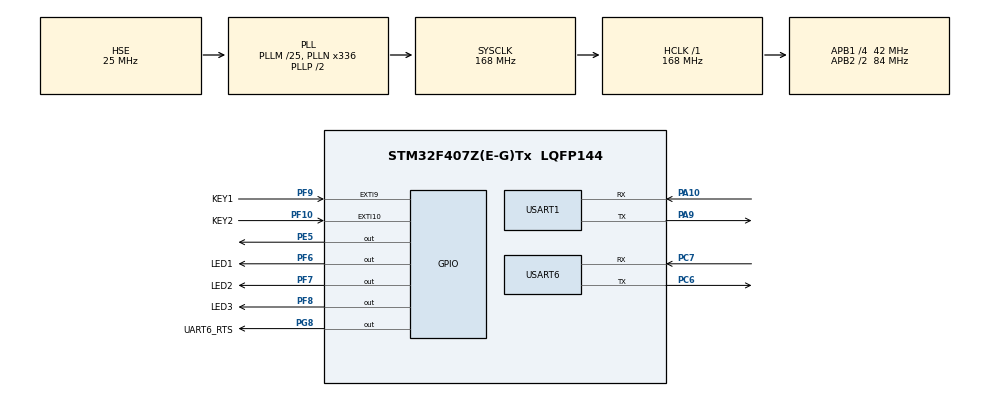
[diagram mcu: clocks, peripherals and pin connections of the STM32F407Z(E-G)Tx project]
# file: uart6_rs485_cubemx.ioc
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Mcu.Family=STM32F4
Mcu.Name=STM32F407Z(E-G)Tx
Mcu.Package=LQFP144
NVIC.EXTI15_10_IRQn=true\:0\:0\:false\:false\:true\:true\:true\:true
NVIC.EXTI9_5_IRQn=true\:0\:0\:false\:false\:true\:true\:true\:true
NVIC.PriorityGroup=NVIC_PRIORITYGROUP_4
NVIC.USART6_IRQn=true\:0\:0\:false\:false\:true\:true\:true\:true
PA10.Mode=Asynchronous
PA10.Signal=USART1_RX
PA9.Mode=Asynchronous
PA9.Signal=USART1_TX
PC6.Mode=Asynchronous
PC6.Signal=USART6_TX
PC7.Mode=Asynchronous
PC7.Signal=USART6_RX
PE5.Signal=GPIO_Output
PF10.GPIO_Label=KEY2
PF10.GPIO_ModeDefaultEXTI=GPIO_MODE_IT_FALLING
PF10.GPIO_PuPd=GPIO_PULLUP
PF10.Signal=GPXTI10
PF6.GPIO_Label=LED1
PF6.Signal=GPIO_Output
PF7.GPIO_Label=LED2
PF7.Signal=GPIO_Output
PF8.GPIO_Label=LED3
PF8.Signal=GPIO_Output
PF9.GPIO_Label=KEY1
PF9.GPIO_ModeDefaultEXTI=GPIO_MODE_IT_FALLING
PF9.GPIO_PuPd=GPIO_PULLUP
PF9.Signal=GPXTI9
PG8.GPIO_Label=UART6_RTS
PG8.Signal=GPIO_Output
PH0-OSC_IN.Mode=HSE-External-Oscillator
PH0-OSC_IN.Signal=RCC_OSC_IN
PH1-OSC_OUT.Mode=HSE-External-Oscillator
PH1-OSC_OUT.Signal=RCC_OSC_OUT
ProjectManager.HeapSize=0x200
ProjectManager.StackSize=0x400
ProjectManager.TargetToolchain=STM32CubeIDE
RCC.48MHZClocksFreq_Value=84000000
RCC.AHBFreq_Value=168000000
RCC.APB1CLKDivider=RCC_HCLK_DIV4
RCC.APB1Freq_Value=42000000
RCC.APB1TimFreq_Value=84000000
RCC.APB2CLKDivider=RCC_HCLK_DIV2
RCC.APB2Freq_Value=84000000
RCC.APB2TimFreq_Value=168000000
RCC.CortexFreq_Value=168000000
RCC.HCLKFreq_Value=168000000
RCC.HSE_VALUE=25000000
RCC.HSI_VALUE=16000000
RCC.LSE_VALUE=32768
RCC.PLLM=25
RCC.PLLN=336
RCC.PLLSourceVirtual=RCC_PLLSOURCE_HSE
RCC.SYSCLKFreq_VALUE=168000000
RCC.SYSCLKSource=RCC_SYSCLKSOURCE_PLLCLK
RCC.VCOOutputFreq_Value=336000000
USART1.VirtualMode=VM_ASYNC
USART6.VirtualMode=VM_ASYNC
board=custom

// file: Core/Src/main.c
/* USER CODE BEGIN Header */
/**
  ******************************************************************************
  * @file           : main.c
  * @brief          : Main program body
  ******************************************************************************
  * @attention
  *
  * Copyright (c) 2026 STMicroelectronics.
  * All rights reserved.
  *
  * This software is licensed under terms that can be found in the LICENSE file
  * in the root directory of this software component.
  * If no LICENSE file comes with this software, it is provided AS-IS.
  *
  ******************************************************************************
  */
/* USER CODE END Header */
#include "main.h"

/* USER CODE BEGIN Includes */
#include <stdio.h>
#include <string.h>
/* USER CODE END Includes */

UART_HandleTypeDef huart1;
UART_HandleTypeDef huart6;

/* USER CODE BEGIN PV */
uint8_t RxData[30];
uint8_t TxData[30];
int indx = 0;
/* USER CODE END PV */

void SystemClock_Config(void);
static void MX_GPIO_Init(void);
static void MX_USART1_UART_Init(void);
static void MX_USART6_UART_Init(void);

/* USER CODE BEGIN 0 */
#define hUART           huart1
int _write( int32_t file , uint8_t *ptr , int32_t len )
{
    /* Implement your write code here, this is used by puts and printf for example */
    for ( int16_t i = 0 ; i < len ; ++i )
    {
        HAL_UART_Transmit( &hUART, ptr++, 1, 100);
    }
    return len;
}

void HAL_GPIO_EXTI_Callback(uint16_t GPIO_Pin)
{
	if(GPIO_Pin == KEY1_Pin)
	{
		if(HAL_GPIO_ReadPin(KEY1_GPIO_Port, KEY1_Pin) == GPIO_PIN_RESET)
		{
			TxData[0] = 100;   // ms Delay
			TxData[1] = 40;    // loop rep
			TxData[2] = 0xaa;
			TxData[3] = 0xaa;
			TxData[4] = 0xaa;
			TxData[5] = 0xaa;
			TxData[6] = 0xaa;
			TxData[7] = 0xaa;

            HAL_GPIO_WritePin(UART6_RTS_GPIO_Port, UART6_RTS_Pin, GPIO_PIN_SET);
			HAL_UART_Transmit(&huart6, TxData, 8, 0xFFFF);
			HAL_GPIO_WritePin(UART6_RTS_GPIO_Port, UART6_RTS_Pin, GPIO_PIN_RESET);

		    printf("TX:%02x %02x %02x %02x %02x %02x %02x %02x\r\n", TxData[0], TxData[1], TxData[2], TxData[3], TxData[4], TxData[5], TxData[6], TxData[7]);
		}
	}
	else if(GPIO_Pin == KEY2_Pin)
	{
		if(HAL_GPIO_ReadPin(KEY2_GPIO_Port, KEY2_Pin) == GPIO_PIN_RESET)
		{
			TxData[0] = 100;   // ms Delay
			TxData[1] = 40;    // loop rep
			TxData[2] = 0x55;
			TxData[3] = 0x55;
			TxData[4] = 0x55;
			TxData[5] = 0x55;
			TxData[6] = 0x55;
			TxData[7] = 0x55;

            HAL_GPIO_WritePin(UART6_RTS_GPIO_Port, UART6_RTS_Pin, GPIO_PIN_SET);
			HAL_UART_Transmit(&huart6, TxData, 8, 0xFFFF);
			HAL_GPIO_WritePin(UART6_RTS_GPIO_Port, UART6_RTS_Pin, GPIO_PIN_RESET);

			printf("TX:%02x %02x %02x %02x %02x %02x %02x %02x\r\n", TxData[0], TxData[1], TxData[2], TxData[3], TxData[4], TxData[5], TxData[6], TxData[7]);
		}
	}
}

void HAL_UARTEx_RxEventCallback(UART_HandleTypeDef *huart, uint16_t Size)
{
  indx = Size;
  HAL_UARTEx_ReceiveToIdle_IT(huart, RxData, 30);
}
/* USER CODE END 0 */

int main(void)
{

  /* MCU Configuration--------------------------------------------------------*/

  /* Reset of all peripherals, Initializes the Flash interface and the Systick. */
  HAL_Init();

  /* Configure the system clock */
  SystemClock_Config();

  /* Initialize all configured peripherals */
  MX_GPIO_Init();
  MX_USART1_UART_Init();
  MX_USART6_UART_Init();
  /* USER CODE BEGIN 2 */
  printf("UART6 - RS485 test\r\n");
  HAL_UARTEx_ReceiveToIdle_IT(&huart6, RxData, 30);
  /* USER CODE END 2 */

  /* Infinite loop */
  /* USER CODE BEGIN WHILE */
  while (1)
  {
	  if(indx)
	  {
		  printf("RX:%02x %02x %02x %02x %02x %02x %02x %02x\r\n", RxData[0], RxData[1], RxData[2], RxData[3], RxData[4], RxData[5], RxData[6], RxData[7]);

			// blink the LED
		  for (int i=0; i<RxData[1]; i++)
		  {
			  HAL_GPIO_TogglePin(GPIOF, LED1_Pin | LED2_Pin | LED3_Pin);
			  HAL_Delay(RxData[0]);
		  }

		  indx = 0;
	  }
    /* USER CODE END WHILE */

  }
}

void SystemClock_Config(void)
{
  RCC_OscInitTypeDef RCC_OscInitStruct = {0};
  RCC_ClkInitTypeDef RCC_ClkInitStruct = {0};

  /** Configure the main internal regulator output voltage
  */
  __HAL_RCC_PWR_CLK_ENABLE();
  __HAL_PWR_VOLTAGESCALING_CONFIG(PWR_REGULATOR_VOLTAGE_SCALE1);

  /** Initializes the RCC Oscillators according to the specified parameters
  * in the RCC_OscInitTypeDef structure.
  */
  RCC_OscInitStruct.OscillatorType = RCC_OSCILLATORTYPE_HSE;
  RCC_OscInitStruct.HSEState = RCC_HSE_ON;
  RCC_OscInitStruct.PLL.PLLState = RCC_PLL_ON;
  RCC_OscInitStruct.PLL.PLLSource = RCC_PLLSOURCE_HSE;
  RCC_OscInitStruct.PLL.PLLM = 25;
  RCC_OscInitStruct.PLL.PLLN = 336;
  RCC_OscInitStruct.PLL.PLLP = RCC_PLLP_DIV2;
  RCC_OscInitStruct.PLL.PLLQ = 4;
  if (HAL_RCC_OscConfig(&RCC_OscInitStruct) != HAL_OK)
  {
    Error_Handler();
  }

  /** Initializes the CPU, AHB and APB buses clocks
  */
  RCC_ClkInitStruct.ClockType = RCC_CLOCKTYPE_HCLK|RCC_CLOCKTYPE_SYSCLK
                              |RCC_CLOCKTYPE_PCLK1|RCC_CLOCKTYPE_PCLK2;
  RCC_ClkInitStruct.SYSCLKSource = RCC_SYSCLKSOURCE_PLLCLK;
  RCC_ClkInitStruct.AHBCLKDivider = RCC_SYSCLK_DIV1;
  RCC_ClkInitStruct.APB1CLKDivider = RCC_HCLK_DIV4;
  RCC_ClkInitStruct.APB2CLKDivider = RCC_HCLK_DIV2;

  if (HAL_RCC_ClockConfig(&RCC_ClkInitStruct, FLASH_LATENCY_5) != HAL_OK)
  {
    Error_Handler();
  }
}

static void MX_USART1_UART_Init(void)
{

  huart1.Instance = USART1;
  huart1.Init.BaudRate = 115200;
  huart1.Init.WordLength = UART_WORDLENGTH_8B;
  huart1.Init.StopBits = UART_STOPBITS_1;
  huart1.Init.Parity = UART_PARITY_NONE;
  huart1.Init.Mode = UART_MODE_TX_RX;
  huart1.Init.HwFlowCtl = UART_HWCONTROL_NONE;
  huart1.Init.OverSampling = UART_OVERSAMPLING_16;
  if (HAL_UART_Init(&huart1) != HAL_OK)
  {
    Error_Handler();
  }

}

static void MX_USART6_UART_Init(void)
{

  huart6.Instance = USART6;
  huart6.Init.BaudRate = 115200;
  huart6.Init.WordLength = UART_WORDLENGTH_8B;
  huart6.Init.StopBits = UART_STOPBITS_1;
  huart6.Init.Parity = UART_PARITY_NONE;
  huart6.Init.Mode = UART_MODE_TX_RX;
  huart6.Init.HwFlowCtl = UART_HWCONTROL_NONE;
  huart6.Init.OverSampling = UART_OVERSAMPLING_16;
  if (HAL_UART_Init(&huart6) != HAL_OK)
  {
    Error_Handler();
  }

}

static void MX_GPIO_Init(void)
{
  GPIO_InitTypeDef GPIO_InitStruct = {0};

  /* GPIO Ports Clock Enable */
  __HAL_RCC_GPIOE_CLK_ENABLE();
  __HAL_RCC_GPIOF_CLK_ENABLE();
  __HAL_RCC_GPIOH_CLK_ENABLE();
  __HAL_RCC_GPIOG_CLK_ENABLE();
  __HAL_RCC_GPIOC_CLK_ENABLE();
  __HAL_RCC_GPIOA_CLK_ENABLE();

  /*Configure GPIO pin Output Level */
  HAL_GPIO_WritePin(GPIOE, GPIO_PIN_5, GPIO_PIN_RESET);

  /*Configure GPIO pin Output Level */
  HAL_GPIO_WritePin(GPIOF, LED1_Pin|LED2_Pin|LED3_Pin, GPIO_PIN_RESET);

  /*Configure GPIO pin Output Level */
  HAL_GPIO_WritePin(UART6_RTS_GPIO_Port, UART6_RTS_Pin, GPIO_PIN_RESET);

  /*Configure GPIO pin : PE5 */
  GPIO_InitStruct.Pin = GPIO_PIN_5;
  GPIO_InitStruct.Mode = GPIO_MODE_OUTPUT_PP;
  GPIO_InitStruct.Pull = GPIO_NOPULL;
  GPIO_InitStruct.Speed = GPIO_SPEED_FREQ_LOW;
  HAL_GPIO_Init(GPIOE, &GPIO_InitStruct);

  /*Configure GPIO pins : LED1_Pin LED2_Pin LED3_Pin */
  GPIO_InitStruct.Pin = LED1_Pin|LED2_Pin|LED3_Pin;
  GPIO_InitStruct.Mode = GPIO_MODE_OUTPUT_PP;
  GPIO_InitStruct.Pull = GPIO_NOPULL;
  GPIO_InitStruct.Speed = GPIO_SPEED_FREQ_LOW;
  HAL_GPIO_Init(GPIOF, &GPIO_InitStruct);

  /*Configure GPIO pins : KEY1_Pin KEY2_Pin */
  GPIO_InitStruct.Pin = KEY1_Pin|KEY2_Pin;
  GPIO_InitStruct.Mode = GPIO_MODE_IT_FALLING;
  GPIO_InitStruct.Pull = GPIO_PULLUP;
  HAL_GPIO_Init(GPIOF, &GPIO_InitStruct);

  /*Configure GPIO pin : UART6_RTS_Pin */
  GPIO_InitStruct.Pin = UART6_RTS_Pin;
  GPIO_InitStruct.Mode = GPIO_MODE_OUTPUT_PP;
  GPIO_InitStruct.Pull = GPIO_NOPULL;
  GPIO_InitStruct.Speed = GPIO_SPEED_FREQ_LOW;
  HAL_GPIO_Init(UART6_RTS_GPIO_Port, &GPIO_InitStruct);

  /* EXTI interrupt init*/
  HAL_NVIC_SetPriority(EXTI9_5_IRQn, 0, 0);
  HAL_NVIC_EnableIRQ(EXTI9_5_IRQn);

  HAL_NVIC_SetPriority(EXTI15_10_IRQn, 0, 0);
  HAL_NVIC_EnableIRQ(EXTI15_10_IRQn);

}

void Error_Handler(void)
{
  __disable_irq();
  while (1)
  {
  }
}
